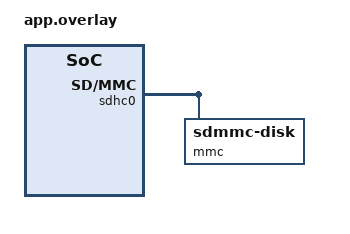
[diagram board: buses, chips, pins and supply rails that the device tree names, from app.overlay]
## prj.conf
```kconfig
CONFIG_FILE_SYSTEM=y
CONFIG_FAT_FILESYSTEM_ELM=y

CONFIG_FILE_SYSTEM_MKFS=y
CONFIG_FS_FATFS_MOUNT_MKFS=y

# when select CONFIG_FAT_FILESYSTEM_ELM, DISK_ACCESS is auto selected by KConfig
# CONFIG_DISK_ACCESS=y

# SDIO_STACK is auto selected when use CONFIG_SDMMC_STACK
#SDIO_STACK=y

CONFIG_SDMMC_STACK=y
# CONFIG_SDIO_STACK=y

CONFIG_SDHC=y
CONFIG_DISK_DRIVERS=y
CONFIG_DISK_DRIVER_SDMMC=y


CONFIG_LOG=y
CONFIG_LOG_MODE_IMMEDIATE=y

# should not open this, otherwise uart_shell thread stack overflow, OS startup failed
# CONFIG_LOG_DEFAULT_LEVEL=4

# fix: Stack overflow, default=1024
# CONFIG_MAIN_STACK_SIZE=4096
CONFIG_MAIN_STACK_SIZE=8192

# not need
# CONFIG_SHELL_STACK_SIZE=4096

CONFIG_SDHC_AMEBA=y

# for test purpose
CONFIG_SD_OCR_RETRY_COUNT=2
CONFIG_SD_RETRY_COUNT=2

# ms
# CONFIG_SD_DATA_TIMEOUT=1
```

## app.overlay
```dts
/*
 * Copyright (c) 2022 Nordic Semiconductor ASA
 *
 * SPDX-License-Identifier: Apache-2.0
 */


&sdhc0 {
	status = "okay";
	mmc {
		compatible = "zephyr,sdmmc-disk";
		status = "okay";
		disk-name = "SD";
	};
};
```

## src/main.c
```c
/*
 * Copyright (c) 2024 Realtek Semiconductor Corp.
 *
 * SPDX-License-Identifier: Apache-2.0
 */

#include <stdio.h>
#include <zephyr/logging/log.h>
#include <zephyr/fs/fs.h>
#include <zephyr/kernel.h>  // for k_msleep()

#include <ff.h>
// #include "os_wrapper.h"

// zephyr\tests\subsys\fs\fat_fs_api\src\test_fat.h
#if defined(CONFIG_DISK_DRIVER_SDMMC)
#define DISK_NAME "SD"
#else
#error "Failed to select DISK access type"
#endif

#define FATFS_MNTP	"/"DISK_NAME":"
#define TEST_FILE	FATFS_MNTP"/testfile.txt"
#define TEST_DIR	FATFS_MNTP"/testdir"
#define TEST_DIR_FILE	FATFS_MNTP"/testdir/testfile2.txt"
#define TEST_ITERATIONS (3)

#include <zephyr/logging/log.h>
// LOG_MODULE_DECLARE(fs, CONFIG_FS_LOG_LEVEL);
LOG_MODULE_REGISTER(fatmain);

/* FatFs work area */
static FATFS fat_fs;

/* mounting info */
static struct fs_mount_t fatfs_mnt = {
	.type = FS_FATFS,
	.mnt_point = FATFS_MNTP,
	.fs_data = &fat_fs,
};

int main(void)
{
	k_msleep(1000);
	LOG_INF("run fatfs example\n");

	int ret;
	struct fs_file_t file;
	char read_buff[128];
	ssize_t brw;	// bytes readed
	const char test_str_prefix[] = "Hello, FatFS on SDCard!";
	char test_str[128];
	// size_t sz = strlen(test_str);
	int written_bytes;

	LOG_INF("start to mount fatfs");
	ret = fs_mount(&fatfs_mnt);
	if (ret < 0) {
		LOG_INF("FAT file system mounting failed, [%d]\n", ret);
		goto err_ret;
	} else {
		LOG_INF("FAT file system mounting successfully\n");
	}

	// 测试多次读写
	for (int i = 0; i < TEST_ITERATIONS; i++) {
		LOG_INF("[%d:%d] start to fs_file_t_init", i, TEST_ITERATIONS);
		memset(test_str, 0 , 128);
		snprintf(test_str, sizeof(test_str), "%s , round: %d", test_str_prefix, i);

		fs_file_t_init(&file);
		LOG_INF("start to fs_open");
		ret = fs_open(&file, TEST_FILE, FS_O_CREATE | FS_O_RDWR);
		if (ret != 0) {
			LOG_INF("Error opening file: %s, (%d)\n", TEST_FILE, ret);
			goto err_unmount;
		} else {
			LOG_INF("open [%s] successfully\n", TEST_FILE);
		}

		// write
		LOG_INF("start to fs_write");
		written_bytes = strlen(test_str);
		ret = fs_write(&file, test_str, strlen(test_str));
		if (ret < 0) {
			LOG_INF("Error writing to file: %d\n", ret);
		}

		if (ret < strlen(test_str)) {
			LOG_INF("Unable to complete write. Volume full.\n");
		}
		LOG_INF("write date [%s] to file %s successfully. len:%d\n", test_str, TEST_FILE, ret);
		
		// read
		(void)fs_seek(&file, 0, FS_SEEK_SET);
		brw = fs_read(&file, read_buff, written_bytes);
		if (brw < 0) {
			LOG_INF("Failed reading file [%zd]\n", brw);
			fs_close(&file);
			goto err_close;
		}

		read_buff[brw] = 0;

		if (strcmp(test_str, read_buff)) {
			LOG_INF("Error - Data read does not match data written\n");
			LOG_INF("Data read:\"%s\"\n\n", read_buff);
		} else {
			LOG_INF("Data read successfully. [%s]\n", read_buff);
		}

	err_close:
		ret = fs_close(&file);
		if (ret != 0) {
			LOG_INF("Error closing file: %d\n", ret);
		} else {
			LOG_INF("close %s successfully\n", TEST_FILE);
		}
	}

err_unmount:
	ret = fs_unmount(&fatfs_mnt);
	if (ret < 0) {
		LOG_INF("Error unmount FAT file system [%d]\n", ret);
	} else {
		LOG_INF("unmount FAT file system successfully\n");
	}

err_ret:
	return 1;
}
```
